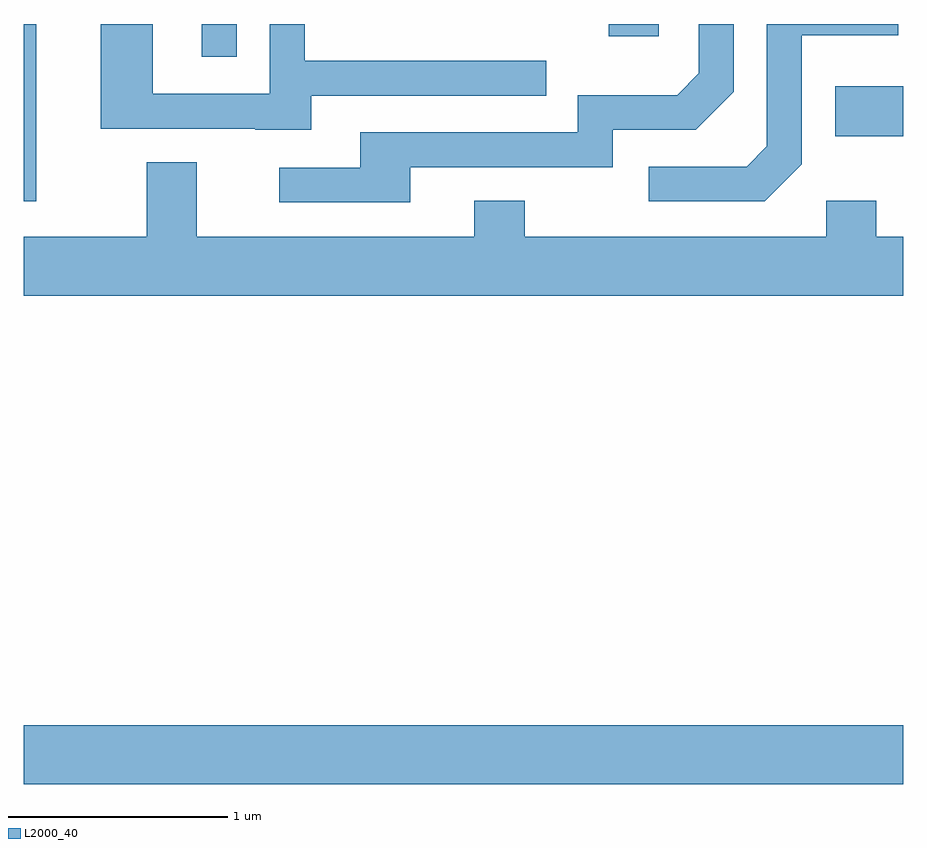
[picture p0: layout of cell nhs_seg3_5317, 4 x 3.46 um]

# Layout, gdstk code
import gdstk
lib = gdstk.Library(unit=1e-6, precision=1e-09)
def R(c, l, rs):  # rectangles x0, y0, x1, y1
    for r in rs: c.add(gdstk.rectangle(r[:2], r[2:], *l))
def P(c, l, *ps):  # polygons
    for p in ps: c.add(gdstk.Polygon(p, *l))
L2000_40 = (2000, 40)

nhs_seg3_5317 = lib.new_cell('nhs_seg3_5317')
R(nhs_seg3_5317, L2000_40, [(341.611,1150.436,345.611,1150.704), (341.611,1153.086,341.669,1153.892), (345.301,1153.381,345.611,1153.609), (342.421,1153.743,342.579,1153.892)])
P(nhs_seg3_5317, L2000_40, [(344.499,1153.892),(343.041,1153.892),(343.041,1153.891),(344.271,1153.891),(344.271,1153.836),(344.499,1153.836)],
  [(343.369,1153.241),(344.289,1153.241),(344.289,1153.411),(344.667,1153.411),(344.839,1153.584),(344.839,1153.892),(344.681,1153.892),(344.681,1153.667),(344.584,1153.569),(344.131,1153.569),(344.131,1153.399),(343.141,1153.399),(343.141,1153.239),(342.773,1153.239),(342.773,1153.081),(343.369,1153.081)],
  [(345.149,1153.254),(345.149,1153.841),(345.589,1153.841),(345.589,1153.892),(344.991,1153.892),(344.991,1153.337),(344.899,1153.244),(344.453,1153.244),(344.453,1153.086),(344.982,1153.086)],
  [(342.919,1153.566),(343.988,1153.566),(343.988,1153.724),(342.889,1153.724),(342.889,1153.892),(342.731,1153.892),(342.731,1153.574),(342.199,1153.574),(342.199,1153.892),(341.961,1153.892),(341.961,1153.416),(342.665,1153.416),(342.665,1153.411),(342.919,1153.411)],
  [(345.611,1152.924),(345.489,1152.924),(345.489,1153.089),(345.261,1153.089),(345.261,1152.924),(343.889,1152.924),(343.889,1153.089),(343.661,1153.089),(343.661,1152.924),(342.399,1152.924),(342.399,1153.264),(342.171,1153.264),(342.171,1152.924),(341.611,1152.924),(341.611,1152.656),(345.611,1152.656)])

lib.write_gds('nhs_seg3_5317.gds')
